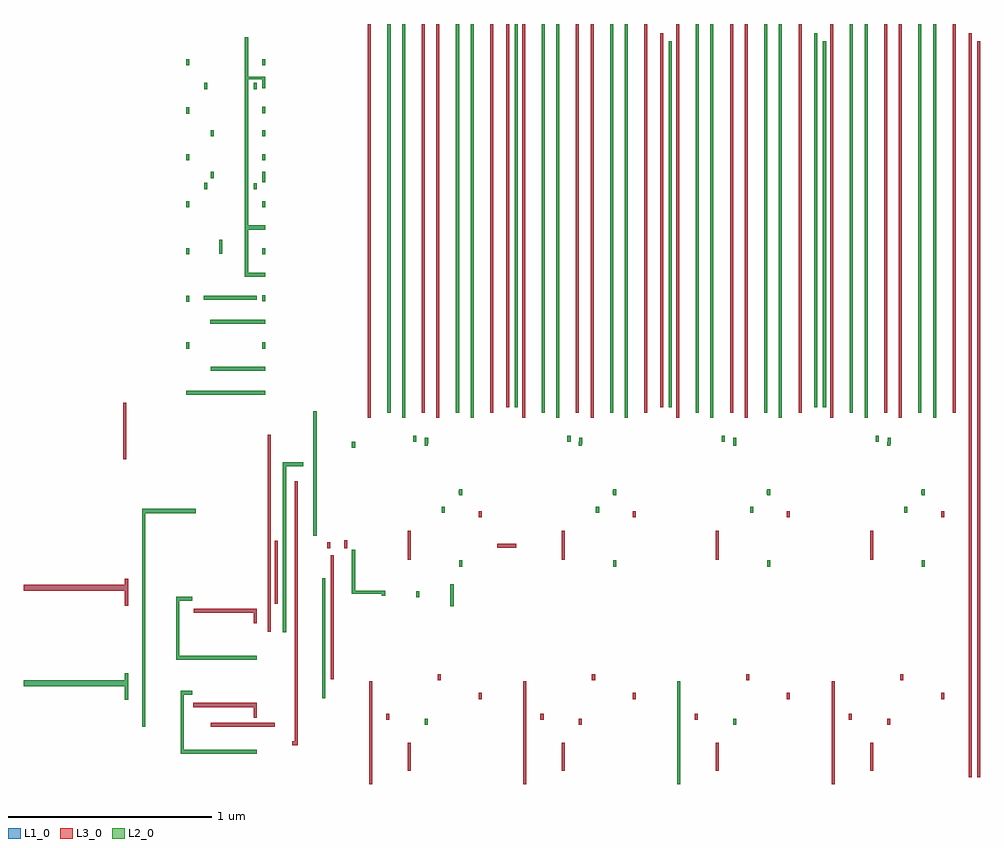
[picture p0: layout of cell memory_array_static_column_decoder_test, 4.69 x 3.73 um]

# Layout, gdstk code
import gdstk
lib = gdstk.Library(unit=1e-6, precision=5e-10)
def R(c, l, rs):  # rectangles x0, y0, x1, y1
    for r in rs: c.add(gdstk.rectangle(r[:2], r[2:], *l))
def A(c, l, x, y, w, h, nx, ny, dx, dy):  # array of equal rectangles
    R(c, l, [(x+i*dx, y+j*dy, x+i*dx+w, y+j*dy+h) for i in range(nx) for j in range(ny)])
def P(c, l, *ps):  # polygons
    for p in ps: c.add(gdstk.Polygon(p, *l))
L1_0 = (1, 0)
L2_0 = (2, 0)
L3_0 = (3, 0)

proto_hold_tspc_pos_ff_3 = lib.new_cell('PROTO_HOLD_tspc_pos_ff_3R')
R(proto_hold_tspc_pos_ff_3, L1_0, [(-0.1335,0.0655,-0.1185,0.203)])
R(proto_hold_tspc_pos_ff_3, L3_0, [(-0.1335,0.0655,-0.1185,0.203)])

demux = lib.new_cell('Demux')
R(demux, L1_0, [(0.1735,0.0655,0.1885,0.197)])

proto_hold_precharge_log = lib.new_cell('PROTO_HOLD_precharge_logic_3Q')
R(proto_hold_precharge_log, L1_0, [(-0.174,-0.083,-0.159,-0.063), (-0.078,-0.0595,-0.063,-0.0395)])

sram_6t = lib.new_cell('sram_6t')
R(sram_6t, L1_0, [(0.015,0,0.03,0.2625), (0.111,0,0.126,0.2625)])

memory_array_static_colu = lib.new_cell('memory_array_static_column_decoder_test')
A(memory_array_static_colu, L1_0, 1.6935, 0, 0.015, 0.5045, 4, 1, 0.756, 0)
A(memory_array_static_colu, L1_0, 2.7225, 0.29, 0.015, 0.03, 3, 1, 0.756, 0)
A(memory_array_static_colu, L1_0, 2.534, 0.314, 0.015, 0.03, 3, 1, 0.756, 0)
A(memory_array_static_colu, L1_0, 2.2305, 0.4165, 0.015, 0.03, 4, 2, 0.756, 0.892)
A(memory_array_static_colu, L1_0, 2.0305, 0.509, 0.015, 0.03, 4, 1, 0.756, 0)
A(memory_array_static_colu, L1_0, 2.135, 1.0665, 0.015, 0.03, 4, 1, 0.756, 0)
A(memory_array_static_colu, L1_0, 1.8825, 1.0995, 0.015, 0.143, 4, 1, 0.756, 0)
A(memory_array_static_colu, L1_0, 2.05, 1.33, 0.015, 0.03, 4, 1, 0.756, 0)
A(memory_array_static_colu, L1_0, 2.6665, 1.678, 0.015, 0.03, 3, 1, 0.756, 0)
A(memory_array_static_colu, L1_0, 1.6875, 1.7965, 0.015, 0.061, 4, 1, 0.168, 0)
A(memory_array_static_colu, L1_0, 2.4435, 1.7965, 0.015, 0.061, 4, 1, 0.168, 0)
A(memory_array_static_colu, L1_0, 3.1995, 1.7965, 0.015, 0.061, 4, 1, 0.168, 0)
A(memory_array_static_colu, L1_0, 3.9555, 1.7965, 0.015, 0.061, 4, 1, 0.168, 0)
A(memory_array_static_colu, L1_0, 1.7835, 1.82, 0.015, 0.037, 4, 1, 0.168, 0)
A(memory_array_static_colu, L1_0, 2.5395, 1.82, 0.015, 0.037, 4, 1, 0.168, 0)
A(memory_array_static_colu, L1_0, 3.2955, 1.82, 0.015, 0.037, 4, 1, 0.168, 0)
A(memory_array_static_colu, L1_0, 4.0515, 1.82, 0.015, 0.037, 4, 1, 0.168, 0)
A(memory_array_static_colu, L1_0, 1.1685, 2.1355, 0.015, 0.03, 1, 5, 0, 0.231)
R(memory_array_static_colu, L1_0, [(4.6335,0.0325,4.6485,3.6815), (4.6755,0.0325,4.6905,3.643), (0.916,0.2805,1.231,0.3005), (1.9665,0.2895,1.9815,0.3195), (1.7775,0.3145,1.7925,0.3445), (1.4625,0.421,1.4775,1.008), (0,0.479,0.511,0.508), (1.5045,0.5135,1.5195,1.1225), (0.497,0.521,0.5105,0.5425), (1.196,0.7465,1.211,1.713), (2.0925,0.8715,2.1075,0.9805), (1.2315,0.8835,1.2465,1.192), (1.9245,0.9165,1.9395,0.9465), (0,0.949,0.511,0.978), (0.4975,0.984,0.5105,1.0045), (1.4885,1.156,1.5035,1.186), (1.571,1.156,1.586,1.1965), (2.3225,1.1595,2.415,1.1795), (1.4205,1.2185,1.4355,1.8275), (0.4875,1.592,0.5025,1.8695), (1.6095,1.6485,1.6245,1.6785), (1.9105,1.6785,1.9255,1.7085), (2.3655,1.848,2.3805,3.7275), (2.4075,1.848,2.4225,3.7275), (3.1215,1.848,3.1365,3.6815), (3.1635,1.848,3.1785,3.643), (3.8775,1.848,3.8925,3.6815), (3.9195,1.848,3.9345,3.643), (0.7965,1.9095,1.1835,1.9295), (0.9165,2.026,1.1835,2.0465), (0.7965,2.1355,0.8115,2.1655), (0.914,2.2575,1.1835,2.2775), (0.796,2.3655,0.811,2.3955), (0.8825,2.374,1.1415,2.3945), (0.796,2.5975,0.811,2.6275), (0.9585,2.6015,0.9735,2.669), (0.796,2.828,0.811,2.858), (1.1265,2.9175,1.1415,2.9475), (0.885,2.918,0.9,2.948), (1.1685,2.9505,1.1835,3.0025), (0.9165,2.972,0.9315,3.002), (0.796,3.0595,0.811,3.0895), (0.9165,3.177,0.9315,3.207), (1.1685,3.177,1.1835,3.207), (0.796,3.288,0.811,3.318), (1.1685,3.2905,1.1835,3.3205), (0.885,3.4085,0.9,3.4385), (1.1265,3.4085,1.1415,3.4385), (0.7965,3.524,0.8115,3.554), (1.1685,3.524,1.1835,3.554)])
P(memory_array_static_colu, L1_0, [(4.418,1.445),(4.418,1.415),(4.403,1.415),(4.403,1.42),(4.4005,1.42),(4.4005,1.44),(4.403,1.44),(4.403,1.445)],
  [(4.251,1.6975),(4.251,1.6675),(4.2495,1.6675),(4.2495,1.6595),(4.2345,1.6595),(4.2345,1.6795),(4.236,1.6795),(4.236,1.6975)],
  [(3.662,1.445),(3.662,1.415),(3.647,1.415),(3.647,1.42),(3.6445,1.42),(3.6445,1.44),(3.647,1.44),(3.647,1.445)],
  [(3.495,1.6975),(3.495,1.6675),(3.4935,1.6675),(3.4935,1.6595),(3.4785,1.6595),(3.4785,1.6795),(3.48,1.6795),(3.48,1.6975)],
  [(2.906,1.445),(2.906,1.415),(2.891,1.415),(2.891,1.42),(2.8885,1.42),(2.8885,1.44),(2.891,1.44),(2.891,1.445)],
  [(2.739,1.6975),(2.739,1.6675),(2.7375,1.6675),(2.7375,1.6595),(2.7225,1.6595),(2.7225,1.6795),(2.724,1.6795),(2.724,1.6975)],
  [(2.15,1.445),(2.15,1.415),(2.135,1.415),(2.135,1.42),(2.1325,1.42),(2.1325,1.44),(2.135,1.44),(2.135,1.445)],
  [(1.9825,1.698),(1.9825,1.668),(1.981,1.668),(1.981,1.66),(1.966,1.66),(1.966,1.68),(1.9675,1.68),(1.9675,1.698)],
  [(1.0995,3.6635),(1.0995,3.4695),(1.1835,3.4695),(1.1835,3.4125),(1.1685,3.4125),(1.1685,3.4555),(1.0995,3.4555),(1.0995,2.7395),(1.1835,2.7395),(1.1835,2.7195),(1.0995,2.7195),(1.0995,2.5085),(1.1835,2.5085),(1.1835,2.4885),(1.0845,2.4885),(1.0845,3.6635)],
  [(1.6245,1.15),(1.6245,0.947),(1.7715,0.947),(1.7715,0.924),(1.7565,0.924),(1.7565,0.9325),(1.6095,0.9325),(1.6095,1.15)],
  [(1.3445,1.484),(1.3445,0.1895),(1.3155,0.1895),(1.3155,0.2095),(1.3295,0.2095),(1.3295,1.484)],
  [(1.3705,1.578),(1.3705,1.558),(1.286,1.558),(1.286,0.745),(1.271,0.745),(1.271,1.578)],
  [(1.142,0.8595),(1.142,0.788),(1.127,0.788),(1.127,0.8395),(0.8325,0.8395),(0.8325,0.8595)],
  [(1.1415,0.3975),(1.1415,0.326),(1.1265,0.326),(1.1265,0.3775),(0.832,0.3775),(0.832,0.3975)],
  [(0.8265,0.457),(0.8265,0.437),(0.7845,0.437),(0.7845,0.1675),(1.1415,0.1675),(1.1415,0.1475),(0.7695,0.1475),(0.7695,0.457)],
  [(0.8265,0.919),(0.8265,0.899),(0.7635,0.899),(0.7635,0.6295),(1.1415,0.6295),(1.1415,0.6095),(0.7485,0.6095),(0.7485,0.919)],
  [(0.844,1.349),(0.844,1.3285),(0.5955,1.3285),(0.5955,0.2805),(0.5805,0.2805),(0.5805,1.349)])
A(memory_array_static_colu, L2_0, 2.135, 1.0665, 0.015, 0.03, 4, 1, 0.756, 0)
A(memory_array_static_colu, L2_0, 2.05, 1.33, 0.015, 0.03, 4, 1, 0.756, 0)
A(memory_array_static_colu, L2_0, 2.6665, 1.678, 0.015, 0.03, 3, 1, 0.756, 0)
A(memory_array_static_colu, L2_0, 1.1685, 2.1355, 0.015, 0.03, 1, 5, 0, 0.231)
R(memory_array_static_colu, L2_0, [(3.2055,0,3.2205,0.5045), (1.9665,0.2895,1.9815,0.3195), (3.4785,0.29,3.4935,0.32), (1.4625,0.421,1.4775,1.008), (2.0925,0.8715,2.1075,0.9805), (1.9245,0.9165,1.9395,0.9465), (1.4205,1.2185,1.4355,1.8275), (1.6095,1.6485,1.6245,1.6785), (1.9105,1.6785,1.9255,1.7085), (1.8555,1.7965,1.8705,3.7275), (2.1915,1.7965,2.2065,3.7275), (2.6115,1.7965,2.6265,3.7275), (2.9475,1.7965,2.9625,3.7275), (3.3675,1.7965,3.3825,3.7275), (3.7035,1.7965,3.7185,3.7275), (4.1235,1.7965,4.1385,3.7275), (4.4595,1.7965,4.4745,3.7275), (1.7835,1.82,1.7985,3.7275), (2.1195,1.82,2.1345,3.7275), (2.5395,1.82,2.5545,3.7275), (2.8755,1.82,2.8905,3.7275), (3.2955,1.82,3.3105,3.7275), (3.6315,1.82,3.6465,3.7275), (4.0515,1.82,4.0665,3.7275), (4.3875,1.82,4.4025,3.7275), (2.4075,1.848,2.4225,3.7275), (3.1635,1.848,3.1785,3.643), (3.8775,1.848,3.8925,3.6815), (3.9195,1.848,3.9345,3.643), (0.7965,1.9095,1.1835,1.9295), (0.9165,2.026,1.1835,2.0465), (0.7965,2.1355,0.8115,2.1655), (0.914,2.2575,1.1835,2.2775), (0.796,2.3655,0.811,2.3955), (0.8825,2.374,1.1415,2.3945), (0.796,2.5975,0.811,2.6275), (0.9585,2.6015,0.9735,2.669), (0.796,2.828,0.811,2.858), (1.1265,2.9175,1.1415,2.9475), (0.885,2.918,0.9,2.948), (1.1685,2.9505,1.1835,3.0025), (0.9165,2.972,0.9315,3.002), (0.796,3.0595,0.811,3.0895), (0.9165,3.177,0.9315,3.207), (1.1685,3.177,1.1835,3.207), (0.796,3.288,0.811,3.318), (1.1685,3.2905,1.1835,3.3205), (0.885,3.4085,0.9,3.4385), (1.1265,3.4085,1.1415,3.4385), (0.7965,3.524,0.8115,3.554), (1.1685,3.524,1.1835,3.554)])
P(memory_array_static_colu, L2_0, [(4.418,1.445),(4.418,1.415),(4.403,1.415),(4.403,1.42),(4.4005,1.42),(4.4005,1.44),(4.403,1.44),(4.403,1.445)],
  [(4.251,1.6975),(4.251,1.6675),(4.2495,1.6675),(4.2495,1.6595),(4.2345,1.6595),(4.2345,1.6795),(4.236,1.6795),(4.236,1.6975)],
  [(3.662,1.445),(3.662,1.415),(3.647,1.415),(3.647,1.42),(3.6445,1.42),(3.6445,1.44),(3.647,1.44),(3.647,1.445)],
  [(3.495,1.6975),(3.495,1.6675),(3.4935,1.6675),(3.4935,1.6595),(3.4785,1.6595),(3.4785,1.6795),(3.48,1.6795),(3.48,1.6975)],
  [(2.906,1.445),(2.906,1.415),(2.891,1.415),(2.891,1.42),(2.8885,1.42),(2.8885,1.44),(2.891,1.44),(2.891,1.445)],
  [(2.739,1.6975),(2.739,1.6675),(2.7375,1.6675),(2.7375,1.6595),(2.7225,1.6595),(2.7225,1.6795),(2.724,1.6795),(2.724,1.6975)],
  [(2.15,1.445),(2.15,1.415),(2.135,1.415),(2.135,1.42),(2.1325,1.42),(2.1325,1.44),(2.135,1.44),(2.135,1.445)],
  [(1.9825,1.698),(1.9825,1.668),(1.981,1.668),(1.981,1.66),(1.966,1.66),(1.966,1.68),(1.9675,1.68),(1.9675,1.698)],
  [(1.0995,3.6635),(1.0995,3.4695),(1.1835,3.4695),(1.1835,3.4125),(1.1685,3.4125),(1.1685,3.4555),(1.0995,3.4555),(1.0995,2.7395),(1.1835,2.7395),(1.1835,2.7195),(1.0995,2.7195),(1.0995,2.5085),(1.1835,2.5085),(1.1835,2.4885),(1.0845,2.4885),(1.0845,3.6635)],
  [(1.6245,1.15),(1.6245,0.947),(1.7715,0.947),(1.7715,0.924),(1.7565,0.924),(1.7565,0.9325),(1.6095,0.9325),(1.6095,1.15)],
  [(1.3705,1.578),(1.3705,1.558),(1.286,1.558),(1.286,0.745),(1.271,0.745),(1.271,1.578)],
  [(0.8265,0.457),(0.8265,0.437),(0.7845,0.437),(0.7845,0.1675),(1.1415,0.1675),(1.1415,0.1475),(0.7695,0.1475),(0.7695,0.457)],
  [(0.8265,0.919),(0.8265,0.899),(0.7635,0.899),(0.7635,0.6295),(1.1415,0.6295),(1.1415,0.6095),(0.7485,0.6095),(0.7485,0.919)],
  [(0.844,1.349),(0.844,1.3285),(0.5955,1.3285),(0.5955,0.2805),(0.5805,0.2805),(0.5805,1.349)],
  [(0.511,0.5435),(0.511,0.412),(0.496,0.412),(0.496,0.479),(0,0.479),(0,0.508),(0.496,0.508),(0.496,0.5435)])
A(memory_array_static_colu, L3_0, 2.534, 0.314, 0.015, 0.03, 3, 1, 0.756, 0)
A(memory_array_static_colu, L3_0, 2.2305, 0.4165, 0.015, 0.03, 4, 2, 0.756, 0.892)
A(memory_array_static_colu, L3_0, 2.0305, 0.509, 0.015, 0.03, 4, 1, 0.756, 0)
A(memory_array_static_colu, L3_0, 1.8825, 1.0995, 0.015, 0.143, 4, 1, 0.756, 0)
R(memory_array_static_colu, L3_0, [(1.6935,0,1.7085,0.5045), (2.4495,0,2.4645,0.5045), (3.9615,0,3.9765,0.5045), (4.6335,0.0325,4.6485,3.6815), (4.6755,0.0325,4.6905,3.643), (0.916,0.2805,1.231,0.3005), (2.7225,0.29,2.7375,0.32), (4.2345,0.29,4.2495,0.32), (1.7775,0.3145,1.7925,0.3445), (1.5045,0.5135,1.5195,1.1225), (1.196,0.7465,1.211,1.713), (1.2315,0.8835,1.2465,1.192), (1.4885,1.156,1.5035,1.186), (1.571,1.156,1.586,1.1965), (2.3225,1.1595,2.415,1.1795), (0.4875,1.592,0.5025,1.8695), (1.6875,1.7965,1.7025,3.7275), (2.0235,1.7965,2.0385,3.7275), (2.4435,1.7965,2.4585,3.7275), (2.7795,1.7965,2.7945,3.7275), (3.1995,1.7965,3.2145,3.7275), (3.5355,1.7965,3.5505,3.7275), (3.9555,1.7965,3.9705,3.7275), (4.2915,1.7965,4.3065,3.7275), (1.9515,1.82,1.9665,3.7275), (2.2875,1.82,2.3025,3.7275), (2.7075,1.82,2.7225,3.7275), (3.0435,1.82,3.0585,3.7275), (3.4635,1.82,3.4785,3.7275), (3.7995,1.82,3.8145,3.7275), (4.2195,1.82,4.2345,3.7275), (4.5555,1.82,4.5705,3.7275), (2.3655,1.848,2.3805,3.7275), (3.1215,1.848,3.1365,3.6815)])
P(memory_array_static_colu, L3_0, [(1.3445,1.484),(1.3445,0.1895),(1.3155,0.1895),(1.3155,0.2095),(1.3295,0.2095),(1.3295,1.484)],
  [(1.142,0.8595),(1.142,0.788),(1.127,0.788),(1.127,0.8395),(0.8325,0.8395),(0.8325,0.8595)],
  [(1.1415,0.3975),(1.1415,0.326),(1.1265,0.326),(1.1265,0.3775),(0.832,0.3775),(0.832,0.3975)],
  [(0.511,1.0055),(0.511,0.874),(0.496,0.874),(0.496,0.949),(0,0.949),(0,0.978),(0.496,0.978),(0.496,1.0055)])
memory_array_static_colu.add(gdstk.Reference(proto_hold_tspc_pos_ff_3, (4.284,0)))
memory_array_static_colu.add(gdstk.Reference(proto_hold_tspc_pos_ff_3, (3.528,0)))
memory_array_static_colu.add(gdstk.Reference(proto_hold_tspc_pos_ff_3, (2.772,0)))
memory_array_static_colu.add(gdstk.Reference(proto_hold_tspc_pos_ff_3, (2.016,0)))
memory_array_static_colu.add(gdstk.Reference(demux, (0.3225,0.8085)))
memory_array_static_colu.add(gdstk.Reference(demux, (0.3225,0.3465)))
memory_array_static_colu.add(gdstk.Reference(proto_hold_precharge_log, (2.3655,1.8795)))
memory_array_static_colu.add(gdstk.Reference(proto_hold_precharge_log, (2.1975,1.8795)))
memory_array_static_colu.add(gdstk.Reference(proto_hold_precharge_log, (2.0295,1.8795)))
memory_array_static_colu.add(gdstk.Reference(proto_hold_precharge_log, (1.8615,1.8795)))
memory_array_static_colu.add(gdstk.Reference(proto_hold_precharge_log, (3.1215,1.8795)))
memory_array_static_colu.add(gdstk.Reference(proto_hold_precharge_log, (2.9535,1.8795)))
memory_array_static_colu.add(gdstk.Reference(proto_hold_precharge_log, (2.7855,1.8795)))
memory_array_static_colu.add(gdstk.Reference(proto_hold_precharge_log, (2.6175,1.8795)))
memory_array_static_colu.add(gdstk.Reference(proto_hold_precharge_log, (4.1295,1.8795)))
memory_array_static_colu.add(gdstk.Reference(proto_hold_precharge_log, (4.2975,1.8795)))
memory_array_static_colu.add(gdstk.Reference(proto_hold_precharge_log, (4.4655,1.8795)))
memory_array_static_colu.add(gdstk.Reference(proto_hold_precharge_log, (4.6335,1.8795)))
memory_array_static_colu.add(gdstk.Reference(proto_hold_precharge_log, (3.8775,1.8795)))
memory_array_static_colu.add(gdstk.Reference(proto_hold_precharge_log, (3.7095,1.8795)))
memory_array_static_colu.add(gdstk.Reference(proto_hold_precharge_log, (3.5415,1.8795)))
memory_array_static_colu.add(gdstk.Reference(proto_hold_precharge_log, (3.3735,1.8795)))
memory_array_static_colu.add(gdstk.Reference(sram_6t, (3.6885,2.541)))
memory_array_static_colu.add(gdstk.Reference(sram_6t, (3.6885,2.31)))
memory_array_static_colu.add(gdstk.Reference(sram_6t, (3.6885,2.079)))
memory_array_static_colu.add(gdstk.Reference(sram_6t, (3.9405,1.848)))
memory_array_static_colu.add(gdstk.Reference(sram_6t, (4.1085,1.848)))
memory_array_static_colu.add(gdstk.Reference(sram_6t, (4.2765,1.848)))
memory_array_static_colu.add(gdstk.Reference(sram_6t, (4.4445,1.848)))
memory_array_static_colu.add(gdstk.Reference(sram_6t, (3.3525,3.465)))
memory_array_static_colu.add(gdstk.Reference(sram_6t, (3.5205,3.465)))
memory_array_static_colu.add(gdstk.Reference(sram_6t, (3.1845,3.465)))
memory_array_static_colu.add(gdstk.Reference(sram_6t, (3.5205,3.234)))
memory_array_static_colu.add(gdstk.Reference(sram_6t, (3.3525,3.234)))
memory_array_static_colu.add(gdstk.Reference(sram_6t, (3.1845,3.234)))
memory_array_static_colu.add(gdstk.Reference(sram_6t, (3.1845,3.003)))
memory_array_static_colu.add(gdstk.Reference(sram_6t, (3.5205,3.003)))
memory_array_static_colu.add(gdstk.Reference(sram_6t, (3.3525,3.003)))
memory_array_static_colu.add(gdstk.Reference(sram_6t, (3.1845,2.772)))
memory_array_static_colu.add(gdstk.Reference(sram_6t, (3.3525,2.772)))
memory_array_static_colu.add(gdstk.Reference(sram_6t, (3.5205,2.772)))
memory_array_static_colu.add(gdstk.Reference(sram_6t, (3.3525,2.541)))
memory_array_static_colu.add(gdstk.Reference(sram_6t, (3.5205,2.541)))
memory_array_static_colu.add(gdstk.Reference(sram_6t, (3.1845,2.541)))
memory_array_static_colu.add(gdstk.Reference(sram_6t, (3.5205,2.31)))
memory_array_static_colu.add(gdstk.Reference(sram_6t, (3.3525,2.31)))
memory_array_static_colu.add(gdstk.Reference(sram_6t, (3.1845,2.31)))
memory_array_static_colu.add(gdstk.Reference(sram_6t, (3.1845,2.079)))
memory_array_static_colu.add(gdstk.Reference(sram_6t, (3.3525,2.079)))
memory_array_static_colu.add(gdstk.Reference(sram_6t, (3.5205,2.079)))
memory_array_static_colu.add(gdstk.Reference(sram_6t, (3.6885,1.848)))
memory_array_static_colu.add(gdstk.Reference(sram_6t, (3.5205,1.848)))
memory_array_static_colu.add(gdstk.Reference(sram_6t, (3.3525,1.848)))
memory_array_static_colu.add(gdstk.Reference(sram_6t, (3.1845,1.848)))
memory_array_static_colu.add(gdstk.Reference(sram_6t, (4.4445,2.079)))
memory_array_static_colu.add(gdstk.Reference(sram_6t, (4.2765,2.079)))
memory_array_static_colu.add(gdstk.Reference(sram_6t, (4.1085,2.079)))
memory_array_static_colu.add(gdstk.Reference(sram_6t, (3.9405,2.079)))
memory_array_static_colu.add(gdstk.Reference(sram_6t, (3.9405,2.31)))
memory_array_static_colu.add(gdstk.Reference(sram_6t, (4.1085,2.31)))
memory_array_static_colu.add(gdstk.Reference(sram_6t, (4.2765,2.31)))
memory_array_static_colu.add(gdstk.Reference(sram_6t, (4.4445,2.31)))
memory_array_static_colu.add(gdstk.Reference(sram_6t, (3.9405,2.541)))
memory_array_static_colu.add(gdstk.Reference(sram_6t, (4.4445,2.541)))
memory_array_static_colu.add(gdstk.Reference(sram_6t, (4.2765,2.541)))
memory_array_static_colu.add(gdstk.Reference(sram_6t, (4.1085,2.541)))
memory_array_static_colu.add(gdstk.Reference(sram_6t, (4.4445,2.772)))
memory_array_static_colu.add(gdstk.Reference(sram_6t, (4.2765,2.772)))
memory_array_static_colu.add(gdstk.Reference(sram_6t, (4.1085,2.772)))
memory_array_static_colu.add(gdstk.Reference(sram_6t, (3.9405,2.772)))
memory_array_static_colu.add(gdstk.Reference(sram_6t, (4.1085,3.003)))
memory_array_static_colu.add(gdstk.Reference(sram_6t, (4.2765,3.003)))
memory_array_static_colu.add(gdstk.Reference(sram_6t, (4.4445,3.003)))
memory_array_static_colu.add(gdstk.Reference(sram_6t, (3.9405,3.003)))
memory_array_static_colu.add(gdstk.Reference(sram_6t, (3.9405,3.234)))
memory_array_static_colu.add(gdstk.Reference(sram_6t, (4.1085,3.234)))
memory_array_static_colu.add(gdstk.Reference(sram_6t, (4.2765,3.234)))
memory_array_static_colu.add(gdstk.Reference(sram_6t, (4.4445,3.234)))
memory_array_static_colu.add(gdstk.Reference(sram_6t, (3.9405,3.465)))
memory_array_static_colu.add(gdstk.Reference(sram_6t, (4.4445,3.465)))
memory_array_static_colu.add(gdstk.Reference(sram_6t, (4.2765,3.465)))
memory_array_static_colu.add(gdstk.Reference(sram_6t, (4.1085,3.465)))
memory_array_static_colu.add(gdstk.Reference(sram_6t, (3.6885,3.465)))
memory_array_static_colu.add(gdstk.Reference(sram_6t, (3.6885,3.234)))
memory_array_static_colu.add(gdstk.Reference(sram_6t, (3.6885,3.003)))
memory_array_static_colu.add(gdstk.Reference(sram_6t, (3.6885,2.772)))
memory_array_static_colu.add(gdstk.Reference(sram_6t, (2.5965,3.465)))
memory_array_static_colu.add(gdstk.Reference(sram_6t, (2.7645,3.465)))
memory_array_static_colu.add(gdstk.Reference(sram_6t, (2.9325,3.465)))
memory_array_static_colu.add(gdstk.Reference(sram_6t, (2.4285,3.465)))
memory_array_static_colu.add(gdstk.Reference(sram_6t, (2.9325,3.234)))
memory_array_static_colu.add(gdstk.Reference(sram_6t, (2.7645,3.234)))
memory_array_static_colu.add(gdstk.Reference(sram_6t, (2.5965,3.234)))
memory_array_static_colu.add(gdstk.Reference(sram_6t, (2.4285,3.234)))
memory_array_static_colu.add(gdstk.Reference(sram_6t, (2.4285,3.003)))
memory_array_static_colu.add(gdstk.Reference(sram_6t, (2.9325,3.003)))
memory_array_static_colu.add(gdstk.Reference(sram_6t, (2.7645,3.003)))
memory_array_static_colu.add(gdstk.Reference(sram_6t, (2.5965,3.003)))
memory_array_static_colu.add(gdstk.Reference(sram_6t, (2.4285,2.772)))
memory_array_static_colu.add(gdstk.Reference(sram_6t, (2.5965,2.772)))
memory_array_static_colu.add(gdstk.Reference(sram_6t, (2.7645,2.772)))
memory_array_static_colu.add(gdstk.Reference(sram_6t, (2.9325,2.772)))
memory_array_static_colu.add(gdstk.Reference(sram_6t, (2.5965,2.541)))
memory_array_static_colu.add(gdstk.Reference(sram_6t, (2.7645,2.541)))
memory_array_static_colu.add(gdstk.Reference(sram_6t, (2.9325,2.541)))
memory_array_static_colu.add(gdstk.Reference(sram_6t, (2.4285,2.541)))
memory_array_static_colu.add(gdstk.Reference(sram_6t, (2.9325,2.31)))
memory_array_static_colu.add(gdstk.Reference(sram_6t, (2.7645,2.31)))
memory_array_static_colu.add(gdstk.Reference(sram_6t, (2.5965,2.31)))
memory_array_static_colu.add(gdstk.Reference(sram_6t, (2.4285,2.31)))
memory_array_static_colu.add(gdstk.Reference(sram_6t, (2.4285,2.079)))
memory_array_static_colu.add(gdstk.Reference(sram_6t, (2.5965,2.079)))
memory_array_static_colu.add(gdstk.Reference(sram_6t, (2.7645,2.079)))
memory_array_static_colu.add(gdstk.Reference(sram_6t, (2.9325,2.079)))
memory_array_static_colu.add(gdstk.Reference(sram_6t, (2.9325,1.848)))
memory_array_static_colu.add(gdstk.Reference(sram_6t, (2.7645,1.848)))
memory_array_static_colu.add(gdstk.Reference(sram_6t, (2.5965,1.848)))
memory_array_static_colu.add(gdstk.Reference(sram_6t, (2.4285,1.848)))
memory_array_static_colu.add(gdstk.Reference(sram_6t, (1.6725,2.31)))
memory_array_static_colu.add(gdstk.Reference(sram_6t, (2.1765,1.848)))
memory_array_static_colu.add(gdstk.Reference(sram_6t, (2.0085,1.848)))
memory_array_static_colu.add(gdstk.Reference(sram_6t, (1.8405,1.848)))
memory_array_static_colu.add(gdstk.Reference(sram_6t, (1.8405,2.079)))
memory_array_static_colu.add(gdstk.Reference(sram_6t, (2.0085,2.079)))
memory_array_static_colu.add(gdstk.Reference(sram_6t, (2.1765,2.079)))
memory_array_static_colu.add(gdstk.Reference(sram_6t, (1.6725,1.848)))
memory_array_static_colu.add(gdstk.Reference(sram_6t, (1.6725,2.079)))
memory_array_static_colu.add(gdstk.Reference(sram_6t, (1.8405,2.31)))
memory_array_static_colu.add(gdstk.Reference(sram_6t, (2.0085,2.31)))
memory_array_static_colu.add(gdstk.Reference(sram_6t, (2.1765,2.31)))
memory_array_static_colu.add(gdstk.Reference(sram_6t, (1.6725,2.541)))
memory_array_static_colu.add(gdstk.Reference(sram_6t, (2.1765,2.541)))
memory_array_static_colu.add(gdstk.Reference(sram_6t, (2.0085,2.541)))
memory_array_static_colu.add(gdstk.Reference(sram_6t, (1.8405,2.541)))
memory_array_static_colu.add(gdstk.Reference(sram_6t, (2.1765,2.772)))
memory_array_static_colu.add(gdstk.Reference(sram_6t, (2.0085,2.772)))
memory_array_static_colu.add(gdstk.Reference(sram_6t, (1.8405,2.772)))
memory_array_static_colu.add(gdstk.Reference(sram_6t, (1.6725,2.772)))
memory_array_static_colu.add(gdstk.Reference(sram_6t, (1.8405,3.003)))
memory_array_static_colu.add(gdstk.Reference(sram_6t, (2.0085,3.003)))
memory_array_static_colu.add(gdstk.Reference(sram_6t, (2.1765,3.003)))
memory_array_static_colu.add(gdstk.Reference(sram_6t, (1.6725,3.003)))
memory_array_static_colu.add(gdstk.Reference(sram_6t, (1.6725,3.234)))
memory_array_static_colu.add(gdstk.Reference(sram_6t, (1.8405,3.234)))
memory_array_static_colu.add(gdstk.Reference(sram_6t, (2.0085,3.234)))
memory_array_static_colu.add(gdstk.Reference(sram_6t, (2.1765,3.234)))
memory_array_static_colu.add(gdstk.Reference(sram_6t, (1.6725,3.465)))
memory_array_static_colu.add(gdstk.Reference(sram_6t, (2.1765,3.465)))
memory_array_static_colu.add(gdstk.Reference(sram_6t, (2.0085,3.465)))
memory_array_static_colu.add(gdstk.Reference(sram_6t, (1.8405,3.465)))

lib.write_gds('memory_array_static_column_decoder_test.gds')
